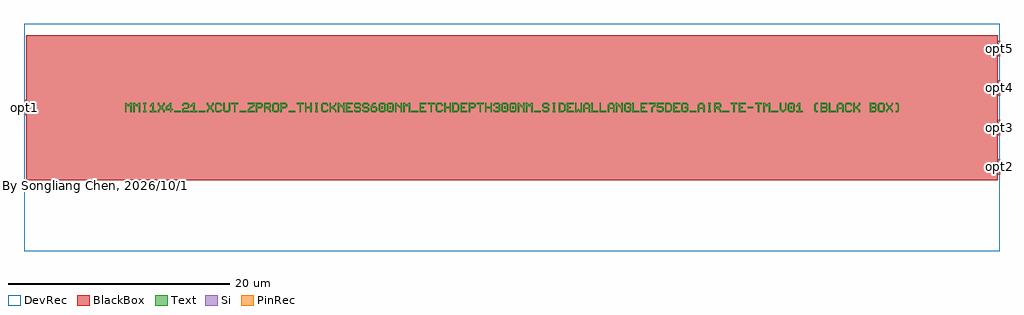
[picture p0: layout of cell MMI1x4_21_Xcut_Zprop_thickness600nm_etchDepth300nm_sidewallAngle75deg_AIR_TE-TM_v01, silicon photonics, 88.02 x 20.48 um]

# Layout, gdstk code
import gdstk
lib = gdstk.Library(unit=1e-6, precision=1e-10)
def R(c, l, rs):  # rectangles x0, y0, x1, y1
    for r in rs: c.add(gdstk.rectangle(r[:2], r[2:], *l))
def A(c, l, x, y, w, h, nx, ny, dx, dy):  # array of equal rectangles
    R(c, l, [(x+i*dx, y+j*dy, x+i*dx+w, y+j*dy+h) for i in range(nx) for j in range(ny)])
def P(c, l, *ps):  # polygons
    for p in ps: c.add(gdstk.Polygon(p, *l))
Si = (1, 0)
PinRec = (1, 10)
Text = (10, 0)
DevRec = (68, 0)
BlackBox = (998, 0)

text = lib.new_cell('TEXT')
A(text, Text, 14.76, 0, 0.615, 0.123, 3, 1, 11.07, 0)
R(text, Text, [(4.428,0,5.043,0.123), (6.642,0,7.257,0.123), (10.332,0,10.947,0.123), (50.922,0,51.537,0.123), (53.874,0,54.489,0.123), (58.302,0,58.917,0.123), (23.124,0.307,23.247,0.553), (23.862,0.307,23.985,0.553), (34.194,0.307,34.317,0.553), (34.932,0.307,35.055,0.553), (60.024,0.307,60.147,0.553), (56.149,0.369,56.641,0.492)])
P(text, Text, [(0,0),(0,0.861),(0.123,0.861),(0.246,0.738),(0.369,0.738),(0.492,0.861),(0.615,0.861),(0.615,0),(0.492,0),(0.492,0.615),(0.43,0.615),(0.307,0.492),(0.184,0.615),(0.123,0.615),(0.123,0)],
  [(0.738,0),(0.738,0.861),(0.861,0.861),(0.984,0.738),(1.107,0.738),(1.23,0.861),(1.353,0.861),(1.353,0),(1.23,0),(1.23,0.615),(1.168,0.615),(1.045,0.492),(0.922,0.615),(0.861,0.615),(0.861,0)],
  [(1.66,0),(1.66,0.123),(1.722,0.123),(1.722,0.738),(1.66,0.738),(1.66,0.861),(1.906,0.861),(1.906,0.738),(1.845,0.738),(1.845,0.123),(1.906,0.123),(1.906,0)],
  [(2.214,0),(2.214,0.123),(2.46,0.123),(2.46,0.615),(2.398,0.615),(2.275,0.492),(2.214,0.492),(2.214,0.615),(2.46,0.861),(2.583,0.861),(2.583,0.123),(2.829,0.123),(2.829,0)],
  [(2.952,0),(2.952,0.184),(3.136,0.369),(3.136,0.492),(2.952,0.676),(2.952,0.861),(3.075,0.861),(3.075,0.738),(3.259,0.553),(3.444,0.738),(3.444,0.861),(3.567,0.861),(3.567,0.676),(3.382,0.492),(3.382,0.369),(3.567,0.184),(3.567,0),(3.444,0),(3.444,0.123),(3.259,0.307),(3.075,0.123),(3.075,0)],
  [(4.059,0),(4.059,0.184),(3.69,0.184),(3.69,0.307),(4.059,0.307),(4.059,0.615),(3.997,0.615),(3.813,0.43),(3.813,0.307),(3.69,0.307),(3.69,0.492),(4.059,0.861),(4.182,0.861),(4.182,0.307),(4.305,0.307),(4.305,0.184),(4.182,0.184),(4.182,0)],
  [(5.166,0),(5.166,0.307),(5.289,0.43),(5.596,0.43),(5.658,0.492),(5.658,0.676),(5.596,0.738),(5.35,0.738),(5.289,0.676),(5.289,0.615),(5.166,0.615),(5.166,0.738),(5.289,0.861),(5.658,0.861),(5.781,0.738),(5.781,0.43),(5.658,0.307),(5.35,0.307),(5.289,0.246),(5.289,0.123),(5.781,0.123),(5.781,0)],
  [(5.904,0),(5.904,0.123),(6.15,0.123),(6.15,0.615),(6.088,0.615),(5.965,0.492),(5.904,0.492),(5.904,0.615),(6.15,0.861),(6.273,0.861),(6.273,0.123),(6.519,0.123),(6.519,0)],
  [(7.38,0),(7.38,0.184),(7.564,0.369),(7.564,0.492),(7.38,0.676),(7.38,0.861),(7.503,0.861),(7.503,0.738),(7.687,0.553),(7.872,0.738),(7.872,0.861),(7.995,0.861),(7.995,0.676),(7.81,0.492),(7.81,0.369),(7.995,0.184),(7.995,0),(7.872,0),(7.872,0.123),(7.687,0.307),(7.503,0.123),(7.503,0)],
  [(8.241,0),(8.118,0.123),(8.118,0.738),(8.241,0.861),(8.61,0.861),(8.733,0.738),(8.733,0.615),(8.61,0.615),(8.61,0.676),(8.548,0.738),(8.302,0.738),(8.241,0.676),(8.241,0.184),(8.302,0.123),(8.548,0.123),(8.61,0.184),(8.61,0.246),(8.733,0.246),(8.733,0.123),(8.61,0)],
  [(8.979,0),(8.856,0.123),(8.856,0.861),(8.979,0.861),(8.979,0.184),(9.04,0.123),(9.286,0.123),(9.348,0.184),(9.348,0.861),(9.471,0.861),(9.471,0.123),(9.348,0)],
  [(9.84,0),(9.84,0.738),(9.594,0.738),(9.594,0.861),(10.209,0.861),(10.209,0.738),(9.963,0.738),(9.963,0)],
  [(11.07,0),(11.07,0.246),(11.316,0.492),(11.377,0.492),(11.562,0.676),(11.562,0.738),(11.07,0.738),(11.07,0.861),(11.685,0.861),(11.685,0.615),(11.439,0.369),(11.377,0.369),(11.193,0.184),(11.193,0.123),(11.685,0.123),(11.685,0)],
  [(11.808,0),(11.808,0.861),(12.3,0.861),(12.423,0.738),(12.423,0.492),(12.3,0.369),(11.931,0.369),(11.931,0.492),(12.238,0.492),(12.3,0.553),(12.3,0.676),(12.238,0.738),(11.931,0.738),(11.931,0)],
  [(12.546,0),(12.546,0.861),(13.038,0.861),(13.161,0.738),(12.669,0.738),(12.669,0.492),(12.976,0.492),(13.038,0.553),(13.038,0.676),(12.976,0.738),(13.161,0.738),(13.161,0.492),(13.038,0.369),(13.038,0.307),(13.161,0.184),(13.161,0),(13.038,0),(13.038,0.123),(12.792,0.369),(12.669,0.369),(12.669,0)],
  [(13.407,0),(13.284,0.123),(13.284,0.738),(13.407,0.861),(13.776,0.861),(13.899,0.738),(13.899,0.43),(13.776,0.43),(13.776,0.676),(13.714,0.738),(13.468,0.738),(13.407,0.676),(13.407,0.184),(13.468,0.123),(13.714,0.123),(13.776,0.184),(13.776,0.43),(13.899,0.43),(13.899,0.123),(13.776,0)],
  [(14.022,0),(14.022,0.861),(14.514,0.861),(14.637,0.738),(14.637,0.492),(14.514,0.369),(14.145,0.369),(14.145,0.492),(14.452,0.492),(14.514,0.553),(14.514,0.676),(14.452,0.738),(14.145,0.738),(14.145,0)],
  [(15.744,0),(15.744,0.738),(15.498,0.738),(15.498,0.861),(16.113,0.861),(16.113,0.738),(15.867,0.738),(15.867,0)],
  [(16.236,0),(16.236,0.861),(16.359,0.861),(16.359,0.492),(16.728,0.492),(16.728,0.861),(16.851,0.861),(16.851,0),(16.728,0),(16.728,0.369),(16.359,0.369),(16.359,0)],
  [(17.158,0),(17.158,0.123),(17.22,0.123),(17.22,0.738),(17.158,0.738),(17.158,0.861),(17.404,0.861),(17.404,0.738),(17.343,0.738),(17.343,0.123),(17.404,0.123),(17.404,0)],
  [(17.835,0),(17.712,0.123),(17.712,0.738),(17.835,0.861),(18.204,0.861),(18.327,0.738),(18.327,0.615),(18.204,0.615),(18.204,0.676),(18.142,0.738),(17.896,0.738),(17.835,0.676),(17.835,0.184),(17.896,0.123),(18.142,0.123),(18.204,0.184),(18.204,0.246),(18.327,0.246),(18.327,0.123),(18.204,0)],
  [(18.45,0),(18.45,0.861),(18.573,0.861),(18.573,0.492),(18.696,0.492),(18.942,0.738),(18.942,0.861),(19.065,0.861),(19.065,0.676),(18.819,0.43),(19.065,0.184),(19.065,0),(18.942,0),(18.942,0.123),(18.696,0.369),(18.573,0.369),(18.573,0)],
  [(19.188,0),(19.188,0.861),(19.311,0.861),(19.618,0.553),(19.68,0.553),(19.68,0.861),(19.803,0.861),(19.803,0),(19.68,0),(19.68,0.307),(19.372,0.615),(19.311,0.615),(19.311,0)],
  [(19.926,0),(19.926,0.861),(20.541,0.861),(20.541,0.738),(20.049,0.738),(20.049,0.492),(20.295,0.492),(20.295,0.369),(20.049,0.369),(20.049,0.123),(20.541,0.123),(20.541,0)],
  [(20.787,0),(20.664,0.123),(20.664,0.246),(20.787,0.246),(20.787,0.184),(20.848,0.123),(21.094,0.123),(21.156,0.184),(21.156,0.307),(21.094,0.369),(20.787,0.369),(20.664,0.492),(20.664,0.738),(20.787,0.861),(21.156,0.861),(21.279,0.738),(21.279,0.615),(21.156,0.615),(21.156,0.676),(21.094,0.738),(20.848,0.738),(20.787,0.676),(20.787,0.553),(20.848,0.492),(21.156,0.492),(21.279,0.369),(21.279,0.123),(21.156,0)],
  [(21.525,0),(21.402,0.123),(21.402,0.246),(21.525,0.246),(21.525,0.184),(21.586,0.123),(21.832,0.123),(21.894,0.184),(21.894,0.307),(21.832,0.369),(21.525,0.369),(21.402,0.492),(21.402,0.738),(21.525,0.861),(21.894,0.861),(22.017,0.738),(22.017,0.615),(21.894,0.615),(21.894,0.676),(21.832,0.738),(21.586,0.738),(21.525,0.676),(21.525,0.553),(21.586,0.492),(21.894,0.492),(22.017,0.369),(22.017,0.123),(21.894,0)],
  [(22.263,0),(22.14,0.123),(22.14,0.615),(22.386,0.861),(22.632,0.861),(22.632,0.738),(22.447,0.738),(22.324,0.615),(22.324,0.553),(22.632,0.553),(22.755,0.43),(22.324,0.43),(22.263,0.369),(22.263,0.184),(22.324,0.123),(22.57,0.123),(22.632,0.184),(22.632,0.369),(22.57,0.43),(22.755,0.43),(22.755,0.123),(22.632,0)],
  [(23.001,0),(22.878,0.123),(22.878,0.738),(23.001,0.861),(23.37,0.861),(23.493,0.738),(23.062,0.738),(23.001,0.676),(23.001,0.184),(23.062,0.123),(23.308,0.123),(23.37,0.184),(23.37,0.676),(23.308,0.738),(23.493,0.738),(23.493,0.123),(23.37,0)],
  [(23.739,0),(23.616,0.123),(23.616,0.738),(23.739,0.861),(24.108,0.861),(24.231,0.738),(23.8,0.738),(23.739,0.676),(23.739,0.184),(23.8,0.123),(24.046,0.123),(24.108,0.184),(24.108,0.676),(24.046,0.738),(24.231,0.738),(24.231,0.123),(24.108,0)],
  [(24.354,0),(24.354,0.861),(24.477,0.861),(24.784,0.553),(24.846,0.553),(24.846,0.861),(24.969,0.861),(24.969,0),(24.846,0),(24.846,0.307),(24.538,0.615),(24.477,0.615),(24.477,0)],
  [(25.092,0),(25.092,0.861),(25.215,0.861),(25.338,0.738),(25.461,0.738),(25.584,0.861),(25.707,0.861),(25.707,0),(25.584,0),(25.584,0.615),(25.522,0.615),(25.399,0.492),(25.276,0.615),(25.215,0.615),(25.215,0)],
  [(26.568,0),(26.568,0.861),(27.183,0.861),(27.183,0.738),(26.691,0.738),(26.691,0.492),(26.937,0.492),(26.937,0.369),(26.691,0.369),(26.691,0.123),(27.183,0.123),(27.183,0)],
  [(27.552,0),(27.552,0.738),(27.306,0.738),(27.306,0.861),(27.921,0.861),(27.921,0.738),(27.675,0.738),(27.675,0)],
  [(28.167,0),(28.044,0.123),(28.044,0.738),(28.167,0.861),(28.536,0.861),(28.659,0.738),(28.659,0.615),(28.536,0.615),(28.536,0.676),(28.474,0.738),(28.228,0.738),(28.167,0.676),(28.167,0.184),(28.228,0.123),(28.474,0.123),(28.536,0.184),(28.536,0.246),(28.659,0.246),(28.659,0.123),(28.536,0)],
  [(28.782,0),(28.782,0.861),(28.905,0.861),(28.905,0.492),(29.274,0.492),(29.274,0.861),(29.397,0.861),(29.397,0),(29.274,0),(29.274,0.369),(28.905,0.369),(28.905,0)],
  [(29.52,0),(29.52,0.861),(29.95,0.861),(30.073,0.738),(29.643,0.738),(29.643,0.123),(29.889,0.123),(30.012,0.246),(30.012,0.615),(29.889,0.738),(30.073,0.738),(30.135,0.676),(30.135,0.184),(29.95,0)],
  [(30.258,0),(30.258,0.861),(30.873,0.861),(30.873,0.738),(30.381,0.738),(30.381,0.492),(30.627,0.492),(30.627,0.369),(30.381,0.369),(30.381,0.123),(30.873,0.123),(30.873,0)],
  [(30.996,0),(30.996,0.861),(31.488,0.861),(31.611,0.738),(31.611,0.492),(31.488,0.369),(31.119,0.369),(31.119,0.492),(31.426,0.492),(31.488,0.553),(31.488,0.676),(31.426,0.738),(31.119,0.738),(31.119,0)],
  [(31.98,0),(31.98,0.738),(31.734,0.738),(31.734,0.861),(32.349,0.861),(32.349,0.738),(32.103,0.738),(32.103,0)],
  [(32.472,0),(32.472,0.861),(32.595,0.861),(32.595,0.492),(32.964,0.492),(32.964,0.861),(33.087,0.861),(33.087,0),(32.964,0),(32.964,0.369),(32.595,0.369),(32.595,0)],
  [(33.333,0),(33.21,0.123),(33.21,0.246),(33.333,0.246),(33.333,0.184),(33.394,0.123),(33.64,0.123),(33.702,0.184),(33.702,0.307),(33.64,0.369),(33.456,0.369),(33.456,0.492),(33.64,0.492),(33.702,0.553),(33.702,0.676),(33.64,0.738),(33.394,0.738),(33.333,0.676),(33.333,0.615),(33.21,0.615),(33.21,0.738),(33.333,0.861),(33.702,0.861),(33.825,0.738),(33.825,0.492),(33.763,0.43),(33.825,0.369),(33.825,0.123),(33.702,0)],
  [(34.071,0),(33.948,0.123),(33.948,0.738),(34.071,0.861),(34.44,0.861),(34.563,0.738),(34.132,0.738),(34.071,0.676),(34.071,0.184),(34.132,0.123),(34.378,0.123),(34.44,0.184),(34.44,0.676),(34.378,0.738),(34.563,0.738),(34.563,0.123),(34.44,0)],
  [(34.809,0),(34.686,0.123),(34.686,0.738),(34.809,0.861),(35.178,0.861),(35.301,0.738),(34.87,0.738),(34.809,0.676),(34.809,0.184),(34.87,0.123),(35.116,0.123),(35.178,0.184),(35.178,0.676),(35.116,0.738),(35.301,0.738),(35.301,0.123),(35.178,0)],
  [(35.424,0),(35.424,0.861),(35.547,0.861),(35.854,0.553),(35.916,0.553),(35.916,0.861),(36.039,0.861),(36.039,0),(35.916,0),(35.916,0.307),(35.608,0.615),(35.547,0.615),(35.547,0)],
  [(36.162,0),(36.162,0.861),(36.285,0.861),(36.408,0.738),(36.531,0.738),(36.654,0.861),(36.777,0.861),(36.777,0),(36.654,0),(36.654,0.615),(36.592,0.615),(36.469,0.492),(36.346,0.615),(36.285,0.615),(36.285,0)],
  [(37.761,0),(37.638,0.123),(37.638,0.246),(37.761,0.246),(37.761,0.184),(37.822,0.123),(38.068,0.123),(38.13,0.184),(38.13,0.307),(38.068,0.369),(37.761,0.369),(37.638,0.492),(37.638,0.738),(37.761,0.861),(38.13,0.861),(38.253,0.738),(38.253,0.615),(38.13,0.615),(38.13,0.676),(38.068,0.738),(37.822,0.738),(37.761,0.676),(37.761,0.553),(37.822,0.492),(38.13,0.492),(38.253,0.369),(38.253,0.123),(38.13,0)],
  [(38.56,0),(38.56,0.123),(38.622,0.123),(38.622,0.738),(38.56,0.738),(38.56,0.861),(38.806,0.861),(38.806,0.738),(38.745,0.738),(38.745,0.123),(38.806,0.123),(38.806,0)],
  [(39.114,0),(39.114,0.861),(39.544,0.861),(39.667,0.738),(39.237,0.738),(39.237,0.123),(39.483,0.123),(39.606,0.246),(39.606,0.615),(39.483,0.738),(39.667,0.738),(39.729,0.676),(39.729,0.184),(39.544,0)],
  [(39.852,0),(39.852,0.861),(40.467,0.861),(40.467,0.738),(39.975,0.738),(39.975,0.492),(40.221,0.492),(40.221,0.369),(39.975,0.369),(39.975,0.123),(40.467,0.123),(40.467,0)],
  [(40.59,0),(40.59,0.861),(40.713,0.861),(40.713,0.184),(40.774,0.184),(40.897,0.307),(41.02,0.184),(41.082,0.184),(41.082,0.861),(41.205,0.861),(41.205,0),(41.02,0),(40.897,0.123),(40.774,0)],
  [(41.328,0),(41.328,0.676),(41.512,0.861),(41.758,0.861),(41.881,0.738),(41.574,0.738),(41.451,0.615),(41.451,0.43),(41.82,0.43),(41.82,0.615),(41.697,0.738),(41.881,0.738),(41.943,0.676),(41.943,0),(41.82,0),(41.82,0.307),(41.451,0.307),(41.451,0)],
  [(42.066,0),(42.066,0.861),(42.189,0.861),(42.189,0.123),(42.681,0.123),(42.681,0)],
  [(42.804,0),(42.804,0.861),(42.927,0.861),(42.927,0.123),(43.419,0.123),(43.419,0)],
  [(43.542,0),(43.542,0.676),(43.726,0.861),(43.972,0.861),(44.095,0.738),(43.788,0.738),(43.665,0.615),(43.665,0.43),(44.034,0.43),(44.034,0.615),(43.911,0.738),(44.095,0.738),(44.157,0.676),(44.157,0),(44.034,0),(44.034,0.307),(43.665,0.307),(43.665,0)],
  [(44.28,0),(44.28,0.861),(44.403,0.861),(44.71,0.553),(44.772,0.553),(44.772,0.861),(44.895,0.861),(44.895,0),(44.772,0),(44.772,0.307),(44.464,0.615),(44.403,0.615),(44.403,0)],
  [(45.141,0),(45.018,0.123),(45.018,0.738),(45.141,0.861),(45.51,0.861),(45.633,0.738),(45.633,0.615),(45.51,0.615),(45.51,0.676),(45.448,0.738),(45.202,0.738),(45.141,0.676),(45.141,0.184),(45.202,0.123),(45.448,0.123),(45.51,0.184),(45.51,0.369),(45.325,0.369),(45.325,0.492),(45.633,0.492),(45.633,0.123),(45.51,0)],
  [(45.756,0),(45.756,0.861),(45.879,0.861),(45.879,0.123),(46.371,0.123),(46.371,0)],
  [(46.494,0),(46.494,0.861),(47.109,0.861),(47.109,0.738),(46.617,0.738),(46.617,0.492),(46.863,0.492),(46.863,0.369),(46.617,0.369),(46.617,0.123),(47.109,0.123),(47.109,0)],
  [(47.478,0),(47.478,0.43),(47.724,0.676),(47.724,0.738),(47.232,0.738),(47.232,0.861),(47.847,0.861),(47.847,0.615),(47.601,0.369),(47.601,0)],
  [(48.093,0),(47.97,0.123),(47.97,0.246),(48.093,0.246),(48.093,0.184),(48.154,0.123),(48.4,0.123),(48.462,0.184),(48.462,0.369),(48.4,0.43),(47.97,0.43),(47.97,0.861),(48.585,0.861),(48.585,0.738),(48.093,0.738),(48.093,0.553),(48.462,0.553),(48.585,0.43),(48.585,0.123),(48.462,0)],
  [(48.708,0),(48.708,0.861),(49.138,0.861),(49.261,0.738),(48.831,0.738),(48.831,0.123),(49.077,0.123),(49.2,0.246),(49.2,0.615),(49.077,0.738),(49.261,0.738),(49.323,0.676),(49.323,0.184),(49.138,0)],
  [(49.446,0),(49.446,0.861),(50.061,0.861),(50.061,0.738),(49.569,0.738),(49.569,0.492),(49.815,0.492),(49.815,0.369),(49.569,0.369),(49.569,0.123),(50.061,0.123),(50.061,0)],
  [(50.307,0),(50.184,0.123),(50.184,0.738),(50.307,0.861),(50.676,0.861),(50.799,0.738),(50.799,0.615),(50.676,0.615),(50.676,0.676),(50.614,0.738),(50.368,0.738),(50.307,0.676),(50.307,0.184),(50.368,0.123),(50.614,0.123),(50.676,0.184),(50.676,0.369),(50.491,0.369),(50.491,0.492),(50.799,0.492),(50.799,0.123),(50.676,0)],
  [(51.66,0),(51.66,0.676),(51.844,0.861),(52.09,0.861),(52.213,0.738),(51.906,0.738),(51.783,0.615),(51.783,0.43),(52.152,0.43),(52.152,0.615),(52.029,0.738),(52.213,0.738),(52.275,0.676),(52.275,0),(52.152,0),(52.152,0.307),(51.783,0.307),(51.783,0)],
  [(52.582,0),(52.582,0.123),(52.644,0.123),(52.644,0.738),(52.582,0.738),(52.582,0.861),(52.828,0.861),(52.828,0.738),(52.767,0.738),(52.767,0.123),(52.828,0.123),(52.828,0)],
  [(53.136,0),(53.136,0.861),(53.628,0.861),(53.751,0.738),(53.259,0.738),(53.259,0.492),(53.566,0.492),(53.628,0.553),(53.628,0.676),(53.566,0.738),(53.751,0.738),(53.751,0.492),(53.628,0.369),(53.628,0.307),(53.751,0.184),(53.751,0),(53.628,0),(53.628,0.123),(53.382,0.369),(53.259,0.369),(53.259,0)],
  [(54.858,0),(54.858,0.738),(54.612,0.738),(54.612,0.861),(55.227,0.861),(55.227,0.738),(54.981,0.738),(54.981,0)],
  [(55.35,0),(55.35,0.861),(55.965,0.861),(55.965,0.738),(55.473,0.738),(55.473,0.492),(55.719,0.492),(55.719,0.369),(55.473,0.369),(55.473,0.123),(55.965,0.123),(55.965,0)],
  [(57.072,0),(57.072,0.738),(56.826,0.738),(56.826,0.861),(57.441,0.861),(57.441,0.738),(57.195,0.738),(57.195,0)],
  [(57.564,0),(57.564,0.861),(57.687,0.861),(57.81,0.738),(57.933,0.738),(58.056,0.861),(58.179,0.861),(58.179,0),(58.056,0),(58.056,0.615),(57.994,0.615),(57.871,0.492),(57.748,0.615),(57.687,0.615),(57.687,0)],
  [(59.286,0),(59.04,0.246),(59.04,0.861),(59.163,0.861),(59.163,0.307),(59.347,0.123),(59.532,0.307),(59.532,0.861),(59.655,0.861),(59.655,0.246),(59.409,0)],
  [(59.901,0),(59.778,0.123),(59.778,0.738),(59.901,0.861),(60.27,0.861),(60.393,0.738),(59.962,0.738),(59.901,0.676),(59.901,0.184),(59.962,0.123),(60.208,0.123),(60.27,0.184),(60.27,0.676),(60.208,0.738),(60.393,0.738),(60.393,0.123),(60.27,0)],
  [(60.516,0),(60.516,0.123),(60.762,0.123),(60.762,0.615),(60.7,0.615),(60.577,0.492),(60.516,0.492),(60.516,0.615),(60.762,0.861),(60.885,0.861),(60.885,0.123),(61.131,0.123),(61.131,0)],
  [(62.299,0),(62.176,0.123),(62.176,0.738),(62.299,0.861),(62.484,0.861),(62.484,0.738),(62.361,0.738),(62.299,0.676),(62.299,0.184),(62.361,0.123),(62.484,0.123),(62.484,0)],
  [(62.73,0),(62.73,0.861),(63.222,0.861),(63.345,0.738),(62.853,0.738),(62.853,0.492),(63.16,0.492),(63.222,0.553),(63.222,0.676),(63.16,0.738),(63.345,0.738),(63.345,0.492),(63.283,0.43),(63.345,0.369),(62.853,0.369),(62.853,0.123),(63.16,0.123),(63.222,0.184),(63.222,0.307),(63.16,0.369),(63.345,0.369),(63.345,0.123),(63.222,0)],
  [(63.468,0),(63.468,0.861),(63.591,0.861),(63.591,0.123),(64.083,0.123),(64.083,0)],
  [(64.206,0),(64.206,0.676),(64.39,0.861),(64.636,0.861),(64.759,0.738),(64.452,0.738),(64.329,0.615),(64.329,0.43),(64.698,0.43),(64.698,0.615),(64.575,0.738),(64.759,0.738),(64.821,0.676),(64.821,0),(64.698,0),(64.698,0.307),(64.329,0.307),(64.329,0)],
  [(65.067,0),(64.944,0.123),(64.944,0.738),(65.067,0.861),(65.436,0.861),(65.559,0.738),(65.559,0.615),(65.436,0.615),(65.436,0.676),(65.374,0.738),(65.128,0.738),(65.067,0.676),(65.067,0.184),(65.128,0.123),(65.374,0.123),(65.436,0.184),(65.436,0.246),(65.559,0.246),(65.559,0.123),(65.436,0)],
  [(65.682,0),(65.682,0.861),(65.805,0.861),(65.805,0.492),(65.928,0.492),(66.174,0.738),(66.174,0.861),(66.297,0.861),(66.297,0.676),(66.051,0.43),(66.297,0.184),(66.297,0),(66.174,0),(66.174,0.123),(65.928,0.369),(65.805,0.369),(65.805,0)],
  [(67.158,0),(67.158,0.861),(67.65,0.861),(67.773,0.738),(67.281,0.738),(67.281,0.492),(67.588,0.492),(67.65,0.553),(67.65,0.676),(67.588,0.738),(67.773,0.738),(67.773,0.492),(67.711,0.43),(67.773,0.369),(67.281,0.369),(67.281,0.123),(67.588,0.123),(67.65,0.184),(67.65,0.307),(67.588,0.369),(67.773,0.369),(67.773,0.123),(67.65,0)],
  [(68.019,0),(67.896,0.123),(67.896,0.738),(68.019,0.861),(68.388,0.861),(68.511,0.738),(68.511,0.43),(68.388,0.43),(68.388,0.676),(68.326,0.738),(68.08,0.738),(68.019,0.676),(68.019,0.184),(68.08,0.123),(68.326,0.123),(68.388,0.184),(68.388,0.43),(68.511,0.43),(68.511,0.123),(68.388,0)],
  [(68.634,0),(68.634,0.184),(68.818,0.369),(68.818,0.492),(68.634,0.676),(68.634,0.861),(68.757,0.861),(68.757,0.738),(68.941,0.553),(69.126,0.738),(69.126,0.861),(69.249,0.861),(69.249,0.676),(69.064,0.492),(69.064,0.369),(69.249,0.184),(69.249,0),(69.126,0),(69.126,0.123),(68.941,0.307),(68.757,0.123),(68.757,0)],
  [(69.495,0),(69.495,0.123),(69.618,0.123),(69.679,0.184),(69.679,0.676),(69.618,0.738),(69.495,0.738),(69.495,0.861),(69.679,0.861),(69.802,0.738),(69.802,0.123),(69.679,0)])

mmi1x4_21_xcut_zprop_thi = lib.new_cell('MMI1x4_21_Xcut_Zprop_thickness600nm_etchDepth300nm_sidewallAngle75deg_AIR_TE-TM_v01')
A(mmi1x4_21_xcut_zprop_thi, Si, 43.8, -6.0412, 0.2, 1.4, 1, 4, 0, 3.5608)
R(mmi1x4_21_xcut_zprop_thi, Si, [(-44,-0.7,-43.8,0.7)])
R(mmi1x4_21_xcut_zprop_thi, DevRec, [(-44,-12.9412,44,7.5412)])
R(mmi1x4_21_xcut_zprop_thi, BlackBox, [(-43.8,-6.5412,43.8,6.5412)])
mmi1x4_21_xcut_zprop_thi.add(gdstk.FlexPath([(-43.99,0),(-44.01,0)], 1.4, ends="flush", simple_path=True, layer=1, datatype=10))  # PinRec
mmi1x4_21_xcut_zprop_thi.add(gdstk.FlexPath([(43.99,-5.3412),(44.01,-5.3412)], 1.4, ends="flush", simple_path=True, layer=1, datatype=10))  # PinRec
mmi1x4_21_xcut_zprop_thi.add(gdstk.FlexPath([(43.99,-1.7804),(44.01,-1.7804)], 1.4, ends="flush", simple_path=True, layer=1, datatype=10))  # PinRec
mmi1x4_21_xcut_zprop_thi.add(gdstk.FlexPath([(43.99,1.7804),(44.01,1.7804)], 1.4, ends="flush", simple_path=True, layer=1, datatype=10))  # PinRec
mmi1x4_21_xcut_zprop_thi.add(gdstk.FlexPath([(43.99,5.3412),(44.01,5.3412)], 1.4, ends="flush", simple_path=True, layer=1, datatype=10))  # PinRec
mmi1x4_21_xcut_zprop_thi.add(gdstk.Reference(text, (-34.901,-0.4305)))
mmi1x4_21_xcut_zprop_thi.add(gdstk.Label('opt1', (-44,0), layer=1, texttype=10))
mmi1x4_21_xcut_zprop_thi.add(gdstk.Label('opt2', (44,-5.3412), layer=1, texttype=10))
mmi1x4_21_xcut_zprop_thi.add(gdstk.Label('opt3', (44,-1.7804), layer=1, texttype=10))
mmi1x4_21_xcut_zprop_thi.add(gdstk.Label('opt4', (44,1.7804), layer=1, texttype=10))
mmi1x4_21_xcut_zprop_thi.add(gdstk.Label('opt5', (44,5.3412), layer=1, texttype=10))
mmi1x4_21_xcut_zprop_thi.add(gdstk.Label('By Songliang Chen, 2026/10/13', (-43.5,-7.0412), layer=10, texttype=0))

lib.write_gds('MMI1x4_21_Xcut_Zprop_thickness600nm_etchDepth300nm_sidewallAngle75deg_AIR_TE-TM_v01.gds')
